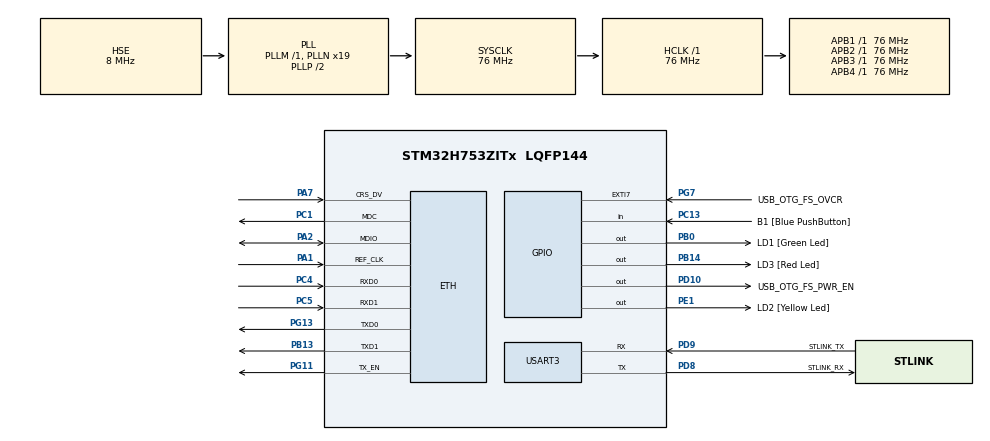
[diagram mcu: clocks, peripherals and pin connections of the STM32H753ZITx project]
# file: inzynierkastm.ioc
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CORTEX_M7.CPU_DCache=Disabled
CORTEX_M7.CPU_ICache=Disabled
CORTEX_M7.MPU_Control=__NULL
ETH.MediaInterface=HAL_ETH_RMII_MODE
FREERTOS.Tasks01=defaultTask,24,128,StartDefaultTask,Default,NULL,Dynamic,NULL,NULL
LWIP.BSP.number=1
LWIP.LWIP_DHCP=1
LWIP.LWIP_DNS=1
LWIP.Version=v2.1.2_Cube
LWIP0.BSP.STBoard=false
LWIP0.BSP.api=BSP_COMPONENT_DRIVER
LWIP0.BSP.component=LAN8742
LWIP0.BSP.instance=LAN8742
LWIP0.BSP.name=Driver_PHY
LWIP0.BSP.semaphore=S_LAN8742
LWIP0.BSP.solution=LAN8742
Mcu.Family=STM32H7
Mcu.Name=STM32H753ZITx
Mcu.Package=LQFP144
NVIC.PriorityGroup=NVIC_PRIORITYGROUP_4
PA1.Mode=RMII
PA1.Signal=ETH_REF_CLK
PA11.Signal=USB_OTG_FS_DM
PA12.Signal=USB_OTG_FS_DP
PA2.Mode=RMII
PA2.Signal=ETH_MDIO
PA7.Mode=RMII
PA7.Signal=ETH_CRS_DV
PA8.Signal=USB_OTG_FS_SOF
PA9.Signal=USB_OTG_FS_VBUS
PB0.GPIO_Label=LD1 [Green Led]
PB0.Signal=GPIO_Output
PB13.Mode=RMII
PB13.Signal=ETH_TXD1
PB14.GPIO_Label=LD3 [Red Led]
PB14.Signal=GPIO_Output
PC1.Mode=RMII
PC1.Signal=ETH_MDC
PC13.GPIO_Label=B1 [Blue PushButton]
PC13.Signal=GPIO_Input
PC14-OSC32_IN\ (OSC32_IN).Signal=RCC_OSC32_IN
PC15-OSC32_OUT\ (OSC32_OUT).Signal=RCC_OSC32_OUT
PC4.Mode=RMII
PC4.Signal=ETH_RXD0
PC5.Mode=RMII
PC5.Signal=ETH_RXD1
PD10.GPIO_Label=USB_OTG_FS_PWR_EN
PD10.Signal=GPIO_Output
PD8.GPIO_Label=STLINK_RX
PD8.Mode=Asynchronous
PD8.Signal=USART3_TX
PD9.GPIO_Label=STLINK_TX
PD9.Mode=Asynchronous
PD9.Signal=USART3_RX
PE1.GPIO_Label=LD2 [Yellow Led]
PE1.Signal=GPIO_Output
PG11.Mode=RMII
PG11.Signal=ETH_TX_EN
PG13.Mode=RMII
PG13.Signal=ETH_TXD0
PG7.GPIO_Label=USB_OTG_FS_OVCR
PG7.Signal=GPXTI7
PH0-OSC_IN\ (PH0).Mode=HSE-External-Clock-Source
PH0-OSC_IN\ (PH0).Signal=RCC_OSC_IN
PH1-OSC_OUT\ (PH1).Signal=RCC_OSC_OUT
ProjectManager.HeapSize=0x200
ProjectManager.StackSize=0x400
ProjectManager.TargetToolchain=STM32CubeIDE
RCC.ADCFreq_Value=16125000
RCC.APB1Freq_Value=76000000
RCC.APB2Freq_Value=76000000
RCC.APB3Freq_Value=76000000
RCC.APB4Freq_Value=76000000
RCC.CortexFreq_Value=76000000
RCC.DIVM1=1
RCC.DIVN1=19
RCC.DIVQ1=4
RCC.HCLKFreq_Value=76000000
RCC.HSE_VALUE=8000000
RCC.PLLFRACN=0
RCC.PLLSourceVirtual=RCC_PLLSOURCE_HSE
RCC.PWR_Regulator_Voltage_Scale=PWR_REGULATOR_VOLTAGE_SCALE2
RCC.SYSCLKFreq_VALUE=76000000
RCC.SYSCLKSource=RCC_SYSCLKSOURCE_PLLCLK
RCC.USART234578CLockSelection=RCC_USART234578CLKSOURCE_HSI
RCC.USBFreq_Value=38000000
USART3.VirtualMode-Asynchronous=VM_ASYNC
VP_FREERTOS_VS_CMSIS_V2.Mode=CMSIS_V2
VP_LWIP_VS_Enabled.Mode=Enabled
VP_MBEDTLS_VS_MBEDTLS.Mode=Enabled
VP_MEMORYMAP_VS_MEMORYMAP.Mode=CurAppReg
VP_RNG_VS_RNG.Mode=RNG_Activate
board=NUCLEO-H753ZI

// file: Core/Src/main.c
/* USER CODE BEGIN Header */
/**
  ******************************************************************************
  * @file           : main.c
  * @brief          : Main program body
  ******************************************************************************
  * @attention
  *
  * Copyright (c) 2026 STMicroelectronics.
  * All rights reserved.
  *
  * This software is licensed under terms that can be found in the LICENSE file
  * in the root directory of this software component.
  * If no LICENSE file comes with this software, it is provided AS-IS.
  *
  ******************************************************************************
  */
/* USER CODE END Header */
#include "main.h"
#include "cmsis_os.h"
#include "mbedtls.h"

/* USER CODE BEGIN Includes */
#include "lwip.h"
#include "net_debug_server.h"
#include "tls_client.h"
#include "debug_logger.h"
#include "iot_events.h"
#include "flash_staging.h"
#include "flash_staging_self_test.h"
#include "lwip/netif.h"
#include "lwip/dhcp.h"
#include "lwip/ip4_addr.h"
#include <string.h>
#include <stdio.h>
#include "lwip/err.h"
#include "lwip/dns.h"
#include "lwip/ip_addr.h"
#include "lwip/tcpip.h"
#include "lwip/sockets.h"
#include "lwip/inet.h"
#include <errno.h>
#include "lwip/etharp.h"
#include "lwip/api.h"
#include "aws_iot_config.h"
#include "FreeRTOS.h"
#include "task.h"
#include "stm32h7xx_it.h"
#include "security_posture.h"
#include "system_time.h"
#include "system_watchdog.h"
#include "ota_manager.h"
#include "credential_store.h"
#include "device_config.h"
/* USER CODE END Includes */

/* USER CODE BEGIN PD */
#ifndef NET_ENABLE_DNS_SELF_TEST
#define NET_ENABLE_DNS_SELF_TEST 0
#endif

#ifndef FIRMWARE_PRODUCTION_PROFILE
#define FIRMWARE_PRODUCTION_PROFILE 1U
#endif

#ifndef FLASH_STAGING_BUTTON_SELF_TEST_ENABLED
#define FLASH_STAGING_BUTTON_SELF_TEST_ENABLED \
    (FIRMWARE_PRODUCTION_PROFILE == 0U)
#endif

#ifndef RUNTIME_HEARTBEAT_LOGS_ENABLED
#define RUNTIME_HEARTBEAT_LOGS_ENABLED \
    (FIRMWARE_PRODUCTION_PROFILE == 0U)
#endif

#define FLASH_STAGING_BUTTON_HOLD_MS 1500U
#define FLASH_STAGING_BUTTON_SAMPLE_MS 20U
#define NET_DHCP_ACQUIRE_TIMEOUT_MS 30000U
#define NET_DHCP_RETRY_DELAY_MS      5000U
#define NET_TIME_SYNC_INTERVAL_MS    (6UL * 60UL * 60UL * 1000UL)
#define NET_TIME_SYNC_RETRY_MS       (15UL * 60UL * 1000UL)
#define OTA_TRIAL_MQTT_STABLE_MS     30000U
#define CREDENTIAL_ROTATION_MQTT_STABLE_MS 30000U
#define PWR_VOS_READY_TIMEOUT_MS       100U

/* USER CODE END PD */

RNG_HandleTypeDef hrng;

UART_HandleTypeDef huart3;

/* Definitions for defaultTask */
osThreadId_t defaultTaskHandle;
const osThreadAttr_t defaultTask_attributes = {
  .name = "defaultTask",
  .stack_size = 16384,
  .priority = (osPriority_t) osPriorityNormal,
};
/* USER CODE BEGIN PV */
static osThreadId_t mqttServiceTaskHandle;
static const osThreadAttr_t mqttServiceTask_attributes = {
  .name = "mqttService",
  .stack_size = 65536,
  .priority = (osPriority_t) osPriorityBelowNormal,
};
extern struct netif gnetif;
uint8_t tls_test_done = 0;
uint32_t last_blink_ms = 0;
uint32_t last_log_ms = 0;
static volatile uint8_t network_ready = 0U;
static volatile uint8_t tls_initialized = 0U;
static volatile uint8_t mqtt_ready = 0U;
static volatile uint8_t network_reconfigure_requested = 0U;
static volatile uint8_t network_force_dhcp_fallback = 0U;
static volatile uint8_t network_active_mode = DEVICE_NETWORK_DHCP;
static uint8_t network_cloud_connection_failures = 0U;
#if FLASH_STAGING_BUTTON_SELF_TEST_ENABLED
static uint8_t flash_staging_self_test_requested = 0U;
#endif
extern volatile uint32_t eth_rx_irq_count;
extern volatile uint32_t eth_tx_irq_count;
extern volatile uint32_t eth_err_irq_count;
extern volatile uint32_t eth_input_pbuf_count;
extern volatile uint32_t eth_last_dma_error;
extern volatile uint32_t eth_last_hal_error;
#if NET_ENABLE_DNS_SELF_TEST
static volatile uint8_t net_dns_done = 0U;
static volatile err_t net_dns_err = ERR_INPROGRESS;
static volatile uint8_t net_dns_start_done = 0U;
static volatile err_t net_dns_start_err = ERR_INPROGRESS;
static ip_addr_t net_dns_addr;
static char net_dns_hostname[256];
#endif
/* USER CODE END PV */

void SystemClock_Config(void);
static void MX_GPIO_Init(void);
static void MX_USART3_UART_Init(void);
static void MX_RNG_Init(void);
void StartDefaultTask(void *argument);

/* USER CODE BEGIN PFP */
static void Print_ResetReason(void);
static void StartMqttServiceTask(void *argument);
#if FLASH_STAGING_BUTTON_SELF_TEST_ENABLED
static uint8_t FlashStagingSelfTest_ButtonHeldAtBoot(void);
#endif
/* USER CODE END PFP */

/* USER CODE BEGIN 0 */
#define SYS_LOG(text)      Debug_LogLine(DEBUG_SRC_SYSTEM, (text))
#define SYS_LOGF(...)      Debug_Logf(DEBUG_SRC_SYSTEM, __VA_ARGS__)
#define NET_LOG(text)      Debug_LogLine(DEBUG_SRC_NET, (text))
#define NET_LOGF(...)      Debug_Logf(DEBUG_SRC_NET, __VA_ARGS__)

void Net_RequestReconfigure(void)
{
    network_force_dhcp_fallback = 0U;
    network_cloud_connection_failures = 0U;
    network_reconfigure_requested = 1U;
}

const char *Net_GetActiveModeName(void)
{
    if ((network_active_mode == DEVICE_NETWORK_DHCP) &&
        (network_force_dhcp_fallback != 0U))
    {
        return "DHCP_FALLBACK";
    }
    return network_active_mode == DEVICE_NETWORK_STATIC ? "STATIC" : "DHCP";
}

#if FLASH_STAGING_BUTTON_SELF_TEST_ENABLED
static uint8_t FlashStagingSelfTest_ButtonHeldAtBoot(void)
{
    uint32_t start_ms;

    if (HAL_GPIO_ReadPin(B1_GPIO_Port, B1_Pin) != GPIO_PIN_SET)
    {
        return 0U;
    }

    start_ms = HAL_GetTick();
    while ((HAL_GetTick() - start_ms) < FLASH_STAGING_BUTTON_HOLD_MS)
    {
        if (HAL_GPIO_ReadPin(B1_GPIO_Port, B1_Pin) != GPIO_PIN_SET)
        {
            return 0U;
        }

        HAL_Delay(FLASH_STAGING_BUTTON_SAMPLE_MS);
    }

    return 1U;
}
#endif

/* USER CODE END 0 */

int main(void)
{

  /* MCU Configuration--------------------------------------------------------*/

  /* Reset of all peripherals, Initializes the Flash interface and the Systick. */
  HAL_Init();

  /* Configure the system clock */
  SystemClock_Config();

  /* USER CODE BEGIN SysInit */

  SecurityPosture_ConfigureMpu();

  /* Ethernet DMA descriptors, RX pool and the LwIP heap live in D2 SRAM. */
  __HAL_RCC_D2SRAM1_CLK_ENABLE();
  __HAL_RCC_D2SRAM2_CLK_ENABLE();
  __HAL_RCC_D2SRAM3_CLK_ENABLE();

  /* USER CODE END SysInit */

  /* Initialize all configured peripherals */
  MX_GPIO_Init();
  MX_USART3_UART_Init();
  MX_RNG_Init();
  /* Call PreOsInit function */
  MX_MBEDTLS_Init();
  /* USER CODE BEGIN 2 */
//  NetDebugServer_Init();
//  TlsClient_Init();
#if FLASH_STAGING_BUTTON_SELF_TEST_ENABLED
  flash_staging_self_test_requested = FlashStagingSelfTest_ButtonHeldAtBoot();
#endif
  HAL_GPIO_WritePin(LD2_GPIO_Port, LD2_Pin, GPIO_PIN_SET);
  /* USER CODE END 2 */

  /* Init scheduler */
  osKernelInitialize();

  /* USER CODE BEGIN RTOS_DEBUG */
  DebugLogger_Init(&huart3);
  SYS_LOG("BOOT: program start");
  SYS_LOG("BOOT: GPIO init OK");
  SYS_LOG("BOOT: UART3 init OK");
  SYS_LOG("BOOT: before RTOS");
#if FLASH_STAGING_BUTTON_SELF_TEST_ENABLED
  if (flash_staging_self_test_requested)
  {
      SYS_LOG("BOOT: Flash staging self-test requested by USER button");
  }
#endif
  Print_ResetReason();
  /* USER CODE END RTOS_DEBUG */

  /* Create the thread(s) */
  /* creation of defaultTask */
  defaultTaskHandle = osThreadNew(StartDefaultTask, NULL, &defaultTask_attributes);
  mqttServiceTaskHandle = osThreadNew(StartMqttServiceTask,
                                      NULL,
                                      &mqttServiceTask_attributes);

  if ((defaultTaskHandle == NULL) || (mqttServiceTaskHandle == NULL))
  {
      SYS_LOG("RTOS: service task create FAILED");
      Error_Handler();
  }
  else
  {
      SYS_LOG("RTOS: service tasks create OK");
  }

  /* Start scheduler */
  osKernelStart();

  /* Returning from osKernelStart means the scheduler could not start. */
  Error_Handler();

  /* USER CODE END 3 */
}

void SystemClock_Config(void)
{
  RCC_OscInitTypeDef RCC_OscInitStruct = {0};
  RCC_ClkInitTypeDef RCC_ClkInitStruct = {0};
  uint32_t vos_wait_started_ms;

  /** Supply configuration update enable
  */
  HAL_PWREx_ConfigSupply(PWR_LDO_SUPPLY);

  /** Configure the main internal regulator output voltage
  */
  __HAL_PWR_VOLTAGESCALING_CONFIG(PWR_REGULATOR_VOLTAGE_SCALE2);

  vos_wait_started_ms = HAL_GetTick();
  while(!__HAL_PWR_GET_FLAG(PWR_FLAG_VOSRDY))
  {
    if ((HAL_GetTick() - vos_wait_started_ms) >= PWR_VOS_READY_TIMEOUT_MS)
    {
      NVIC_SystemReset();
    }
  }

  /** Initializes the RCC Oscillators according to the specified parameters
  * in the RCC_OscInitTypeDef structure.
  */
  RCC_OscInitStruct.OscillatorType = RCC_OSCILLATORTYPE_HSI48|RCC_OSCILLATORTYPE_HSI
                              |RCC_OSCILLATORTYPE_HSE;
  RCC_OscInitStruct.HSEState = RCC_HSE_BYPASS;
  RCC_OscInitStruct.HSIState = RCC_HSI_DIV1;
  RCC_OscInitStruct.HSICalibrationValue = RCC_HSICALIBRATION_DEFAULT;
  RCC_OscInitStruct.HSI48State = RCC_HSI48_ON;
  RCC_OscInitStruct.PLL.PLLState = RCC_PLL_ON;
  RCC_OscInitStruct.PLL.PLLSource = RCC_PLLSOURCE_HSE;
  RCC_OscInitStruct.PLL.PLLM = 1;
  RCC_OscInitStruct.PLL.PLLN = 19;
  RCC_OscInitStruct.PLL.PLLP = 2;
  RCC_OscInitStruct.PLL.PLLQ = 4;
  RCC_OscInitStruct.PLL.PLLR = 2;
  RCC_OscInitStruct.PLL.PLLRGE = RCC_PLL1VCIRANGE_3;
  RCC_OscInitStruct.PLL.PLLVCOSEL = RCC_PLL1VCOMEDIUM;
  RCC_OscInitStruct.PLL.PLLFRACN = 0;
  if (HAL_RCC_OscConfig(&RCC_OscInitStruct) != HAL_OK)
  {
    Error_Handler();
  }

  /** Initializes the CPU, AHB and APB buses clocks
  */
  RCC_ClkInitStruct.ClockType = RCC_CLOCKTYPE_HCLK|RCC_CLOCKTYPE_SYSCLK
                              |RCC_CLOCKTYPE_PCLK1|RCC_CLOCKTYPE_PCLK2
                              |RCC_CLOCKTYPE_D3PCLK1|RCC_CLOCKTYPE_D1PCLK1;
  RCC_ClkInitStruct.SYSCLKSource = RCC_SYSCLKSOURCE_PLLCLK;
  RCC_ClkInitStruct.SYSCLKDivider = RCC_SYSCLK_DIV1;
  RCC_ClkInitStruct.AHBCLKDivider = RCC_HCLK_DIV1;
  RCC_ClkInitStruct.APB3CLKDivider = RCC_HCLK_DIV1;
  RCC_ClkInitStruct.APB1CLKDivider = RCC_HCLK_DIV1;
  RCC_ClkInitStruct.APB2CLKDivider = RCC_HCLK_DIV1;
  RCC_ClkInitStruct.APB4CLKDivider = RCC_HCLK_DIV1;

  if (HAL_RCC_ClockConfig(&RCC_ClkInitStruct, FLASH_LATENCY_1) != HAL_OK)
  {
    Error_Handler();
  }
}

static void MX_RNG_Init(void)
{

  hrng.Instance = RNG;
  hrng.Init.ClockErrorDetection = RNG_CED_ENABLE;
  if (HAL_RNG_Init(&hrng) != HAL_OK)
  {
    Error_Handler();
  }

}

static void MX_USART3_UART_Init(void)
{

  huart3.Instance = USART3;
  huart3.Init.BaudRate = 115200;
  huart3.Init.WordLength = UART_WORDLENGTH_8B;
  huart3.Init.StopBits = UART_STOPBITS_1;
  huart3.Init.Parity = UART_PARITY_NONE;
  huart3.Init.Mode = UART_MODE_TX_RX;
  huart3.Init.HwFlowCtl = UART_HWCONTROL_NONE;
  huart3.Init.OverSampling = UART_OVERSAMPLING_16;
  huart3.Init.OneBitSampling = UART_ONE_BIT_SAMPLE_DISABLE;
  huart3.Init.ClockPrescaler = UART_PRESCALER_DIV1;
  huart3.AdvancedInit.AdvFeatureInit = UART_ADVFEATURE_NO_INIT;
  if (HAL_UART_Init(&huart3) != HAL_OK)
  {
    Error_Handler();
  }
  if (HAL_UARTEx_SetTxFifoThreshold(&huart3, UART_TXFIFO_THRESHOLD_1_8) != HAL_OK)
  {
    Error_Handler();
  }
  if (HAL_UARTEx_SetRxFifoThreshold(&huart3, UART_RXFIFO_THRESHOLD_1_8) != HAL_OK)
  {
    Error_Handler();
  }
  if (HAL_UARTEx_DisableFifoMode(&huart3) != HAL_OK)
  {
    Error_Handler();
  }

}

static void MX_GPIO_Init(void)
{
  GPIO_InitTypeDef GPIO_InitStruct = {0};

  /* GPIO Ports Clock Enable */
  __HAL_RCC_GPIOC_CLK_ENABLE();
  __HAL_RCC_GPIOH_CLK_ENABLE();
  __HAL_RCC_GPIOA_CLK_ENABLE();
  __HAL_RCC_GPIOB_CLK_ENABLE();
  __HAL_RCC_GPIOD_CLK_ENABLE();
  __HAL_RCC_GPIOG_CLK_ENABLE();
  __HAL_RCC_GPIOE_CLK_ENABLE();

  /*Configure GPIO pin Output Level */
  HAL_GPIO_WritePin(GPIOB, LD1_Pin|LD3_Pin, GPIO_PIN_RESET);

  /*Configure GPIO pin Output Level */
  HAL_GPIO_WritePin(USB_OTG_FS_PWR_EN_GPIO_Port, USB_OTG_FS_PWR_EN_Pin, GPIO_PIN_RESET);

  /*Configure GPIO pin Output Level */
  HAL_GPIO_WritePin(LD2_GPIO_Port, LD2_Pin, GPIO_PIN_RESET);

  /*Configure GPIO pin : B1_Pin */
  GPIO_InitStruct.Pin = B1_Pin;
  GPIO_InitStruct.Mode = GPIO_MODE_INPUT;
  GPIO_InitStruct.Pull = GPIO_NOPULL;
  HAL_GPIO_Init(B1_GPIO_Port, &GPIO_InitStruct);

  /*Configure GPIO pins : LD1_Pin LD3_Pin */
  GPIO_InitStruct.Pin = LD1_Pin|LD3_Pin;
  GPIO_InitStruct.Mode = GPIO_MODE_OUTPUT_PP;
  GPIO_InitStruct.Pull = GPIO_NOPULL;
  GPIO_InitStruct.Speed = GPIO_SPEED_FREQ_LOW;
  HAL_GPIO_Init(GPIOB, &GPIO_InitStruct);

  /*Configure GPIO pin : USB_OTG_FS_PWR_EN_Pin */
  GPIO_InitStruct.Pin = USB_OTG_FS_PWR_EN_Pin;
  GPIO_InitStruct.Mode = GPIO_MODE_OUTPUT_PP;
  GPIO_InitStruct.Pull = GPIO_NOPULL;
  GPIO_InitStruct.Speed = GPIO_SPEED_FREQ_LOW;
  HAL_GPIO_Init(USB_OTG_FS_PWR_EN_GPIO_Port, &GPIO_InitStruct);

  /*Configure GPIO pin : USB_OTG_FS_OVCR_Pin */
  GPIO_InitStruct.Pin = USB_OTG_FS_OVCR_Pin;
  GPIO_InitStruct.Mode = GPIO_MODE_IT_RISING;
  GPIO_InitStruct.Pull = GPIO_NOPULL;
  HAL_GPIO_Init(USB_OTG_FS_OVCR_GPIO_Port, &GPIO_InitStruct);

  /*Configure GPIO pins : PA8 PA11 PA12 */
  GPIO_InitStruct.Pin = GPIO_PIN_8|GPIO_PIN_11|GPIO_PIN_12;
  GPIO_InitStruct.Mode = GPIO_MODE_AF_PP;
  GPIO_InitStruct.Pull = GPIO_NOPULL;
  GPIO_InitStruct.Speed = GPIO_SPEED_FREQ_LOW;
  GPIO_InitStruct.Alternate = GPIO_AF10_OTG1_FS;
  HAL_GPIO_Init(GPIOA, &GPIO_InitStruct);

  /*Configure GPIO pin : LD2_Pin */
  GPIO_InitStruct.Pin = LD2_Pin;
  GPIO_InitStruct.Mode = GPIO_MODE_OUTPUT_PP;
  GPIO_InitStruct.Pull = GPIO_NOPULL;
  GPIO_InitStruct.Speed = GPIO_SPEED_FREQ_LOW;
  HAL_GPIO_Init(LD2_GPIO_Port, &GPIO_InitStruct);

}

/* USER CODE BEGIN 4 */
void vAssertCalled(const char *file, int line)
{
    (void)file;
    (void)line;
    Fault_ReportFatal("FreeRTOS assert");
}

static void Print_ResetReason(void)
{
    if (__HAL_RCC_GET_FLAG(RCC_FLAG_IWDG1RST)) SYS_LOG("RESET: IWDG");
    if (__HAL_RCC_GET_FLAG(RCC_FLAG_WWDG1RST)) SYS_LOG("RESET: WWDG");
    if (__HAL_RCC_GET_FLAG(RCC_FLAG_SFTRST))   SYS_LOG("RESET: SOFTWARE");
    if (__HAL_RCC_GET_FLAG(RCC_FLAG_PORRST))   SYS_LOG("RESET: POWER ON");
    if (__HAL_RCC_GET_FLAG(RCC_FLAG_PINRST))   SYS_LOG("RESET: NRST PIN");
    if (__HAL_RCC_GET_FLAG(RCC_FLAG_BORRST))   SYS_LOG("RESET: BROWNOUT");

    __HAL_RCC_CLEAR_RESET_FLAGS();
}

void vApplicationMallocFailedHook(void)
{
    Fault_ReportFatal("FreeRTOS malloc failed");
}

void vApplicationStackOverflowHook(TaskHandle_t xTask, char *pcTaskName)
{
    (void)xTask;
    (void)pcTaskName;
    Fault_ReportFatal("FreeRTOS stack overflow");
}

static void Net_PrintIp(void)
{
    char ip[16];
    char mask[16];
    char gw[16];
    char buf[128];

    ip4addr_ntoa_r(netif_ip4_addr(&gnetif), ip, sizeof(ip));
    ip4addr_ntoa_r(netif_ip4_netmask(&gnetif), mask, sizeof(mask));
    ip4addr_ntoa_r(netif_ip4_gw(&gnetif), gw, sizeof(gw));

    snprintf(buf, sizeof(buf), "NET: IP=%s MASK=%s GW=%s\r\n", ip, mask, gw);
    NET_LOG(buf);
}

static int Net_WaitForLink(void)
{
    uint32_t start = HAL_GetTick();

    NET_LOG("NET: waiting for Ethernet link...");

    while (!netif_is_link_up(&gnetif))
    {
        SystemWatchdog_Heartbeat(SYSTEM_WATCHDOG_SUPERVISOR);
        SystemWatchdog_Service();
        if ((HAL_GetTick() - start) > 15000)
        {
            NET_LOG("NET: Ethernet link TIMEOUT");
            Net_PrintIp();
            return -1;
        }

        osDelay(100);
    }

    NET_LOG("NET: Ethernet link UP");

    NET_LOG("NET: before post-link delay");
    osDelay(1500);
    NET_LOG("NET: after post-link delay");

    NET_LOG("NET: before netif_is_up");

    if (!netif_is_up(&gnetif))
    {
        NET_LOG("NET: before netif_set_up");
        netif_set_up(&gnetif);
        NET_LOG("NET: netif set UP");
    }

    NET_LOG("NET: Net_WaitForLink return OK");

    return 0;
}

#if NET_ENABLE_DNS_SELF_TEST
static void Net_DnsFound(const char *name, const ip_addr_t *ipaddr, void *arg)
{
    (void)name;
    (void)arg;

    if (ipaddr != NULL)
    {
        net_dns_addr = *ipaddr;
        net_dns_err = ERR_OK;
    }
    else
    {
        net_dns_err = ERR_VAL;
    }

    net_dns_done = 1U;
}

static void Net_DnsStartOnTcpipThread(void *arg)
{
    ip_addr_t addr;
    err_t err;

    (void)arg;

    err = dns_gethostbyname(net_dns_hostname, &addr, Net_DnsFound, NULL);
    net_dns_start_err = err;

    if (err == ERR_OK)
    {
        net_dns_addr = addr;
        net_dns_err = ERR_OK;
        net_dns_done = 1U;
    }
    else if (err != ERR_INPROGRESS)
    {
        net_dns_err = err;
        net_dns_done = 1U;
    }

    net_dns_start_done = 1U;
}

static int Net_TestDns(const char *hostname)
{
    char buf[200];
    char ipbuf[48];
    uint32_t t0;
    err_t err;

    NET_LOG("DNS: test start");

    snprintf(buf, sizeof(buf), "DNS: host=%s\r\n", hostname);
    NET_LOG(buf);

    snprintf(buf, sizeof(buf), "DNS: server0=%s\r\n", ipaddr_ntoa(dns_getserver(0)));
    NET_LOG(buf);

    net_dns_done = 0U;
    net_dns_err = ERR_INPROGRESS;
    net_dns_start_done = 0U;
    net_dns_start_err = ERR_INPROGRESS;
    memset(&net_dns_addr, 0, sizeof(net_dns_addr));
    snprintf(net_dns_hostname, sizeof(net_dns_hostname), "%s", hostname);
    net_dns_hostname[sizeof(net_dns_hostname) - 1U] = '\0';

    t0 = HAL_GetTick();

    NET_LOG("DNS: before tcpip_callback dns_gethostbyname");

    err = tcpip_callback(Net_DnsStartOnTcpipThread, NULL);

    snprintf(buf, sizeof(buf), "DNS: tcpip_callback err=%d\r\n", (int)err);
    NET_LOG(buf);

    if (err != ERR_OK)
    {
        return -1;
    }

    while (net_dns_start_done == 0U)
    {
        if ((HAL_GetTick() - t0) > 2000U)
        {
            NET_LOG("DNS: tcpip_callback start TIMEOUT");
            return -1;
        }

        osDelay(10);
    }

    snprintf(buf, sizeof(buf), "DNS: start err=%d\r\n", (int)net_dns_start_err);
    NET_LOG(buf);

    while (net_dns_done == 0U)
    {
        if ((HAL_GetTick() - t0) > 8000U)
        {
            NET_LOG("DNS: async resolve TIMEOUT");
            return -1;
        }

        osDelay(100);
    }

    if (net_dns_err != ERR_OK)
    {
        snprintf(buf, sizeof(buf), "DNS: async resolve failed err=%d\r\n", (int)net_dns_err);
        NET_LOG(buf);
        return -1;
    }

    ipaddr_ntoa_r(&net_dns_addr, ipbuf, sizeof(ipbuf));
    snprintf(buf, sizeof(buf),
             "DNS: resolved async -> %s dt=%lu ms\r\n",
             ipbuf,
             (unsigned long)(HAL_GetTick() - t0));
    NET_LOG(buf);
    return 0;
}
#endif

static int Net_ConfigureConnectedInterface(void)
{
    DeviceConfig config;
    uint32_t start_ms;
    uint32_t last_log_ms;
    ip4_addr_t zero;
    err_t err;
    char buf[96];

    DeviceConfig_GetSnapshot(&config);

    if (!netif_is_link_up(&gnetif))
    {
        NET_LOG("NET: DHCP skipped, Ethernet link is down");
        return -1;
    }

    if ((config.network_addressing_mode == DEVICE_NETWORK_STATIC) &&
        (network_force_dhcp_fallback == 0U))
    {
        ip4_addr_t address;
        ip4_addr_t netmask;
        ip4_addr_t gateway;
        ip_addr_t dns_primary;
        ip_addr_t dns_secondary;

        IP4_ADDR(&address,
                 config.ipv4_address[0],
                 config.ipv4_address[1],
                 config.ipv4_address[2],
                 config.ipv4_address[3]);
        IP4_ADDR(&netmask,
                 config.ipv4_netmask[0],
                 config.ipv4_netmask[1],
                 config.ipv4_netmask[2],
                 config.ipv4_netmask[3]);
        IP4_ADDR(&gateway,
                 config.ipv4_gateway[0],
                 config.ipv4_gateway[1],
                 config.ipv4_gateway[2],
                 config.ipv4_gateway[3]);
        IP_ADDR4(&dns_primary,
                 config.dns_primary[0],
                 config.dns_primary[1],
                 config.dns_primary[2],
                 config.dns_primary[3]);
        IP_ADDR4(&dns_secondary,
                 config.dns_secondary[0],
                 config.dns_secondary[1],
                 config.dns_secondary[2],
                 config.dns_secondary[3]);

        NET_LOG("NET: static IPv4 configuration start");
        dhcp_stop(&gnetif);
        netif_set_addr(&gnetif, &address, &netmask, &gateway);
        netif_set_default(&gnetif);
        if (!netif_is_up(&gnetif))
        {
            netif_set_up(&gnetif);
        }
        dns_setserver(0U, &dns_primary);
        dns_setserver(1U, &dns_secondary);
        network_active_mode = DEVICE_NETWORK_STATIC;
        NET_LOG("NET: static IPv4 configuration applied");
        goto network_configuration_ready;
    }

    IP4_ADDR(&zero, 0, 0, 0, 0);
    NET_LOG(network_force_dhcp_fallback
                ? "NET: DHCP safety fallback start"
                : "NET: DHCP configuration start");
    dhcp_stop(&gnetif);
    netif_set_addr(&gnetif, &zero, &zero, &zero);
    netif_set_default(&gnetif);
    if (!netif_is_up(&gnetif))
    {
        netif_set_up(&gnetif);
    }

    osDelay(200);
    err = dhcp_start(&gnetif);
    if (err != ERR_OK)
    {
        NET_LOGF("NET: dhcp_start failed err=%d", (int)err);
        return -1;
    }

    start_ms = HAL_GetTick();
    last_log_ms = start_ms;
    NET_LOG("NET: waiting for DHCP lease...");

    while (!dhcp_supplied_address(&gnetif))
    {
        uint32_t now = HAL_GetTick();

        SystemWatchdog_Heartbeat(SYSTEM_WATCHDOG_SUPERVISOR);
        SystemWatchdog_Service();
        if (!netif_is_link_up(&gnetif))
        {
            NET_LOG("NET: link lost while waiting for DHCP");
            dhcp_stop(&gnetif);
            return -1;
        }

        if ((now - start_ms) >= NET_DHCP_ACQUIRE_TIMEOUT_MS)
        {
            NET_LOG("NET: DHCP lease timeout");
            dhcp_stop(&gnetif);
            return -1;
        }

        if ((now - last_log_ms) >= 5000U)
        {
            last_log_ms = now;
            NET_LOGF("NET: DHCP waiting elapsed=%lums",
                     (unsigned long)(now - start_ms));
        }

        osDelay(100);
    }

    NET_LOG("NET: DHCP lease acquired");
    network_active_mode = DEVICE_NETWORK_DHCP;

network_configuration_ready:
    Net_PrintIp();
    snprintf(buf, sizeof(buf), "NET: DNS0=%s", ipaddr_ntoa(dns_getserver(0)));
    NET_LOG(buf);
    snprintf(buf, sizeof(buf), "NET: DNS1=%s", ipaddr_ntoa(dns_getserver(1)));
    NET_LOG(buf);

    if (SystemTime_SyncNetwork() != 0)
    {
        if (!SystemTime_IsValid())
        {
            NET_LOG("TIME: no valid RTC/SNTP time; TLS is blocked");
            return -1;
        }
        NET_LOG("TIME: using validated RTC holdover");
    }
    NET_LOGF("TIME: state=%s",
             SystemTime_StateName(SystemTime_GetState()));

#if NET_ENABLE_DNS_SELF_TEST
    NET_LOG("NET: ready for DNS-only test");
    NET_LOG("STEP: DNS example.com");

    if (Net_TestDns("example.com") != 0)
    {
        NET_LOG("DNS TEST: example.com FAILED");
        return -1;
    }

    NET_LOG("DNS TEST: example.com OK");
    NET_LOG("STEP: DNS AWS");

    if (Net_TestDns(AWS_IOT_ENDPOINT) != 0)
    {
        NET_LOG("DNS TEST: AWS FAILED");
        return -1;
    }

    NET_LOG("DNS TEST: AWS OK");
#else
    NET_LOG("NET: DNS self-test disabled");
    NET_LOG("NET: TLS task will resolve AWS host");
#endif

    return 0;
}

static void FlashStaging_LogSnapshot(const char *source)
{
    const FlashStagingInfo *info = FlashStaging_GetInfo();

    SYS_LOGF("FLASH STAGING: state=%s capacity=%lu size=%lu source=%s",
             FlashStaging_StateName(info->state),
             (unsigned long)info->capacity_bytes,
             (unsigned long)info->file_size_bytes,
             source);
}

static void CredentialRotation_RecordConnectionFailure(const char *stage)
{
    int result;

    if (CredentialStore_GetState() != CREDENTIAL_STORE_ROTATION_VALIDATING)
    {
        return;
    }

    result = CredentialStore_RecordRotationFailure();
    if (result > 0)
    {
        SYS_LOGF("FLEET: rotated credential validation failed at %s, previous credentials restored",
                 stage);
        (void)IotEvents_QueueAlert(
            IOT_ALERT_WARNING,
            "CREDENTIAL_ROTATION_ROLLED_BACK",
            "New credentials failed validation; previous credentials restored");
    }
    else if (result == 0)
    {
        SYS_LOGF("FLEET: rotated credential validation retry stage=%s", stage);
    }
    else
    {
        SYS_LOG("FLEET: rotated credential validation state persistence failed");
        (void)IotEvents_QueueAlert(
            IOT_ALERT_CRITICAL,
            "CREDENTIAL_ROTATION_RECOVERY_FAILED",
            "Credential validation failure could not be persisted or rolled back");
    }
}

static void Network_RecordCloudConnectionFailure(void)
{
    DeviceConfig config;

    DeviceConfig_GetSnapshot(&config);
    if ((config.network_addressing_mode != DEVICE_NETWORK_STATIC) ||
        (config.network_dhcp_fallback_enabled == 0U) ||
        (network_force_dhcp_fallback != 0U))
    {
        return;
    }

    if (network_cloud_connection_failures < UINT8_MAX)
    {
        network_cloud_connection_failures++;
    }
    if (network_cloud_connection_failures >= 3U)
    {
        network_force_dhcp_fallback = 1U;
        network_reconfigure_requested = 1U;
        SYS_LOG("NET: static configuration failed cloud health gate; DHCP fallback scheduled");
        (void)IotEvents_QueueAlert(
            IOT_ALERT_WARNING,
            "STATIC_NETWORK_FALLBACK",
            "Static IPv4 could not reach AWS IoT; DHCP safety fallback scheduled");
    }
}

/* Sole owner of mbedTLS/MQTT state; link supervision stays in defaultTask. */
static void StartMqttServiceTask(void *argument)
{
    uint32_t retry_after_ms = 0U;
    uint32_t mqtt_healthy_since_ms = 0U;
    uint32_t connectivity_outage_started_ms = 0U;
    uint8_t connectivity_outage_active = 0U;

    (void)argument;
    SYS_LOG("RTOS: mqttService start");

    for (;;)
    {
        uint32_t now = HAL_GetTick();
        SystemWatchdog_Heartbeat(SYSTEM_WATCHDOG_MQTT);
        OtaManager_Process(now);
        if (tls_initialized != 0U)
        {
            TlsClient_OfflineTelemetryProcess(now);
        }

        if (TlsClient_LifecycleResetIsDue())
        {
            SYS_LOG("LIFECYCLE: acknowledgement window completed; rebooting");
            TlsClient_Disconnect();
            osDelay(50U);
            __DSB();
            NVIC_SystemReset();
        }

        uint8_t usable_network =
            (tls_initialized != 0U) &&
            DeviceConfig_IsCloudAccessAllowed() &&
            (network_ready != 0U) &&
            netif_is_link_up(&gnetif) &&
            netif_is_up(&gnetif) &&
            (netif_ip4_addr(&gnetif)->addr != 0U);

        if (usable_network == 0U)
        {
            if (mqtt_ready != 0U)
            {
                if (connectivity_outage_active == 0U)
                {
                    connectivity_outage_active = 1U;
                    connectivity_outage_started_ms = now;
                    (void)IotEvents_QueueAlert(
                        IOT_ALERT_WARNING,
                        "NETWORK_CONNECTION_LOST",
                        "Network became unavailable; MQTT reconnect is deferred");
                }
                TlsClient_Disconnect();
                mqtt_ready = 0U;
                mqtt_healthy_since_ms = 0U;
            }
            osDelay(50U);
            continue;
        }

        if ((mqtt_ready == 0U) &&
            ((int32_t)(now - retry_after_ms) >= 0))
        {
            tls_test_done = 1U;
            retry_after_ms = now + 5000U;
            TlsClient_ClearCancel();
            SYS_LOG("TLS TEST: start");

            if (TlsClient_Connect() == 0)
            {
                SYS_LOG("TLS TEST: HANDSHAKE OK");
                SYS_LOG("MQTT TEST: start");

                if (TlsClient_MqttTest() == 0)
                {
                    if (connectivity_outage_active != 0U)
                    {
                        char recovery_message[128];
                        uint32_t outage_seconds =
                            (HAL_GetTick() - connectivity_outage_started_ms +
                             999U) / 1000U;

                        (void)snprintf(
                            recovery_message,
                            sizeof(recovery_message),
                            "MQTT connectivity restored after %lu second(s)",
                            (unsigned long)outage_seconds);
                        (void)IotEvents_QueueDiagnosticDurable(
                            IOT_DIAGNOSTIC_INFO,
                            "NETWORK",
                            "NETWORK_CONNECTION_RESTORED",
                            recovery_message);
                        connectivity_outage_active = 0U;
                    }
                    SYS_LOG("MQTT TEST: OK");
                    mqtt_ready = 1U;
                    mqtt_healthy_since_ms = HAL_GetTick();
                    network_cloud_connection_failures = 0U;
                }
                else
                {
                    SYS_LOG("MQTT TEST: FAIL");
                    CredentialRotation_RecordConnectionFailure("mqtt");
                    Network_RecordCloudConnectionFailure();
                    (void)IotEvents_QueueAlert(
                        IOT_ALERT_WARNING,
                        "MQTT_CONNECT_FAILED",
                        "MQTT session could not be established");
                    TlsClient_Disconnect();
                }
            }
            else
            {
                SYS_LOG("TLS TEST: HANDSHAKE FAIL");
                CredentialRotation_RecordConnectionFailure("tls");
                Network_RecordCloudConnectionFailure();
                (void)IotEvents_QueueAlert(
                    IOT_ALERT_WARNING,
                    "TLS_HANDSHAKE_FAILED",
                    "TLS handshake with AWS IoT failed");
            }
        }

        if (mqtt_ready != 0U)
        {
            if ((network_ready == 0U) ||
                !netif_is_link_up(&gnetif) ||
                !netif_is_up(&gnetif) ||
                (TlsClient_MqttProcess() != 0))
            {
                SYS_LOG("MQTT: session lost, reconnect scheduled");
                if (connectivity_outage_active == 0U)
                {
                    connectivity_outage_active = 1U;
                    connectivity_outage_started_ms = now;
                }
                (void)IotEvents_QueueAlert(
                    IOT_ALERT_WARNING,
                    "MQTT_SESSION_LOST",
                    "MQTT session was lost; reconnect scheduled");
                TlsClient_Disconnect();
                mqtt_ready = 0U;
                mqtt_healthy_since_ms = 0U;
                retry_after_ms = HAL_GetTick() + 5000U;
            }
        }

        if ((mqtt_ready != 0U) &&
            (mqtt_healthy_since_ms != 0U) &&
            (CredentialStore_GetState() ==
             CREDENTIAL_STORE_ROTATION_VALIDATING) &&
            ((HAL_GetTick() - mqtt_healthy_since_ms) >=
             CREDENTIAL_ROTATION_MQTT_STABLE_MS))
        {
            if (CredentialStore_CommitRotationValidated() == 0)
            {
                SYS_LOG("FLEET: rotated credentials validated and committed");
                (void)IotEvents_QueueDiagnostic(
                    IOT_DIAGNOSTIC_INFO,
                    "SECURITY",
                    "CREDENTIAL_ROTATION_SUCCEEDED",
                    "New credentials passed the stable MQTT health gate");
                if (TlsClient_PublishStatus() != 0)
                {
                    SYS_LOG("FLEET: committed credential status publish deferred");
                }
            }
            else
            {
                SYS_LOG("FLEET: rotated credential commit failed");
                mqtt_healthy_since_ms = HAL_GetTick();
            }
        }

        if ((mqtt_ready != 0U) &&
            (mqtt_healthy_since_ms != 0U) &&
            (OtaManager_IsTrial() != 0) &&
            (SystemWatchdog_IsStarted() != 0) &&
            ((HAL_GetTick() - mqtt_healthy_since_ms) >=
             OTA_TRIAL_MQTT_STABLE_MS))
        {
            if (OtaManager_ConfirmHealthy() == 0)
            {
                SYS_LOG("OTA: MQTT stability gate passed, image confirmed");
            }
            else
            {
                SYS_LOG("OTA: MQTT stability confirmation failed");
                mqtt_healthy_since_ms = HAL_GetTick();
            }
        }

        osDelay(10U);
    }
}
/* USER CODE END 4 */

void StartDefaultTask(void *argument)
{
  /* USER CODE BEGIN 5 */
    SYS_LOG("RTOS: defaultTask start");

#if FLASH_STAGING_BUTTON_SELF_TEST_ENABLED
    if (flash_staging_self_test_requested)
    {
        FlashStagingResult staging_init_result = FlashStaging_Init();
        FlashStagingResult staging_test_result;

        SYS_LOGF("FLASH SELFTEST: init result=%d state=%s",
                 (int)staging_init_result,
                 FlashStaging_StateName(FlashStaging_GetInfo()->state));
        staging_test_result = FlashStagingSelfTest_Run();
        SYS_LOGF("FLASH SELFTEST: complete result=%d state=%s",
                 (int)staging_test_result,
                 FlashStaging_StateName(FlashStaging_GetInfo()->state));
        flash_staging_self_test_requested = 0U;
    }
#endif

    HAL_NVIC_SetPriority(ETH_IRQn, 7, 0);
    HAL_NVIC_EnableIRQ(ETH_IRQn);

    MX_LWIP_Init();

    SYS_LOG("RTOS: LWIP init OK");
    NET_LOGF("NET: MAC=%02X:%02X:%02X:%02X:%02X:%02X",
             gnetif.hwaddr[0],
             gnetif.hwaddr[1],
             gnetif.hwaddr[2],
             gnetif.hwaddr[3],
             gnetif.hwaddr[4],
             gnetif.hwaddr[5]);

    uint32_t network_retry_after_ms = 0U;
    uint32_t next_time_sync_ms = HAL_GetTick() + NET_TIME_SYNC_INTERVAL_MS;

    /* Local persistent services must be available even when Ethernet is down. */
    SYS_LOG("RTOS: local services init start");
    if (SystemTime_Init() == 0)
    {
        SYS_LOGF("TIME: RTC initialized state=%s",
                 SystemTime_StateName(SystemTime_GetState()));
    }
    else
    {
        SYS_LOG("TIME: RTC initialization FAILED");
    }

    if (TlsClient_Init() == 0)
    {
        tls_initialized = 1U;
        SYS_LOG("RTOS: local services init OK, TLS handshake available");
    }
    else
    {
        tls_initialized = 0U;
        SYS_LOG("RTOS: local services init FAILED");
    }

    SecurityPosture_Report();
    if (SystemWatchdog_InitAndStart() == 0)
    {
        SYS_LOG("WATCHDOG: IWDG started timeout~32s");
    }
    else
    {
        SYS_LOG("WATCHDOG: IWDG initialization FAILED");
    }

    /*
     * A TRIAL image is confirmed by mqttService only after the signed image,
     * persistent services, IWDG and a stable AWS MQTT session are all proven.
     */

    if (Net_WaitForLink() == 0)
    {
        network_ready = (Net_ConfigureConnectedInterface() == 0) ? 1U : 0U;
        if (!network_ready)
        {
            network_retry_after_ms = HAL_GetTick() + NET_DHCP_RETRY_DELAY_MS;
        }
    }
    else
    {
        NET_LOG("NET: no link, skipping DNS/TCP/TLS");
        network_ready = 0U;
    }

    if (network_ready)
    {
        SYS_LOG("RTOS: network ready, TLS handshake enabled");
    }
    else
    {
        SYS_LOG("RTOS: network unavailable, TLS/MQTT deferred");
    }

    SYS_LOG("RTOS: network services init OK");

    for (;;)
    {
        uint32_t now = HAL_GetTick();

        SystemWatchdog_Heartbeat(SYSTEM_WATCHDOG_SUPERVISOR);
        SystemWatchdog_Service();
        if (!mqtt_ready && ((now - last_blink_ms) >= 500U))
        {
            last_blink_ms = now;
            HAL_GPIO_TogglePin(LD2_GPIO_Port, LD2_Pin);
        }

#if RUNTIME_HEARTBEAT_LOGS_ENABLED
        if ((now - last_log_ms) >= 5000U)
        {
            last_log_ms = now;
            char buf[160];

            snprintf(buf, sizeof(buf),
                     "TASK: alive link=%d netif=%d ip=0x%08lx rx_irq=%lu tx_irq=%lu err=%lu pbuf=%lu dma=0x%08lx hal=0x%08lx\r\n",
                     netif_is_link_up(&gnetif),
                     netif_is_up(&gnetif),
                     (unsigned long)netif_ip4_addr(&gnetif)->addr,
                     eth_rx_irq_count,
                     eth_tx_irq_count,
                     eth_err_irq_count,
                     eth_input_pbuf_count,
                     eth_last_dma_error,
                     eth_last_hal_error);

            NET_LOG(buf);
        }
#endif

        if ((network_reconfigure_requested != 0U) &&
            netif_is_link_up(&gnetif))
        {
            network_reconfigure_requested = 0U;
            network_ready = 0U;
            TlsClient_RequestCancel();
            NET_LOG("NET: applying persisted network configuration");
            osDelay(250U);
            network_ready =
                (Net_ConfigureConnectedInterface() == 0) ? 1U : 0U;
            network_retry_after_ms = network_ready
                                         ? 0U
                                         : HAL_GetTick() +
                                               NET_DHCP_RETRY_DELAY_MS;
            if (network_ready != 0U)
            {
                (void)IotEvents_QueueDiagnosticDurable(
                    IOT_DIAGNOSTIC_INFO,
                    "NETWORK",
                    "NETWORK_CONFIGURATION_APPLIED",
                    Net_GetActiveModeName());
            }
        }

        if (!netif_is_link_up(&gnetif))
        {
            NET_LOG("NET: link DOWN, waiting again...");
            network_ready = 0U;
            TlsClient_RequestCancel();
            (void)IotEvents_QueueAlert(IOT_ALERT_WARNING,
                                       "ETHERNET_LINK_LOST",
                                       "Ethernet link was lost");

            if (Net_WaitForLink() == 0)
            {
                network_ready =
                    (Net_ConfigureConnectedInterface() == 0) ? 1U : 0U;

                if (network_ready)
                {
                    network_retry_after_ms = 0U;
                    FlashStaging_LogSnapshot("ethernet-restored");
                    osDelay(1000);
                    NET_LOG("NET: ready after reconnect");
                    (void)IotEvents_QueueDiagnostic(IOT_DIAGNOSTIC_INFO,
                                                    "ETHERNET",
                                                    "ETHERNET_LINK_RESTORED",
                                                    "Ethernet link was restored");
                }
                else
                {
                    network_retry_after_ms =
                        HAL_GetTick() + NET_DHCP_RETRY_DELAY_MS;
                    NET_LOG("NET: interface configuration failed after reconnect");
                }
            }
            else
            {
                network_ready = 0U;
            }
        }

        if (netif_is_link_up(&gnetif) &&
            (!network_ready || (netif_ip4_addr(&gnetif)->addr == 0U)) &&
            ((int32_t)(HAL_GetTick() - network_retry_after_ms) >= 0))
        {
            network_ready = 0U;
            TlsClient_RequestCancel();
            network_ready =
                (Net_ConfigureConnectedInterface() == 0) ? 1U : 0U;
            network_retry_after_ms = network_ready
                                         ? 0U
                                         : HAL_GetTick() + NET_DHCP_RETRY_DELAY_MS;
        }

        if (network_ready &&
            ((int32_t)(HAL_GetTick() - next_time_sync_ms) >= 0))
        {
            if (SystemTime_SyncNetwork() == 0)
            {
                next_time_sync_ms =
                    HAL_GetTick() + NET_TIME_SYNC_INTERVAL_MS;
                NET_LOG("TIME: periodic SNTP synchronization OK");
            }
            else
            {
                next_time_sync_ms = HAL_GetTick() + NET_TIME_SYNC_RETRY_MS;
                NET_LOG("TIME: periodic SNTP synchronization deferred");
            }
        }

        osDelay(10);
    }
  /* USER CODE END 5 */
}

void Error_Handler(void)
{
  __disable_irq();
  while (1)
  {
  }
}
